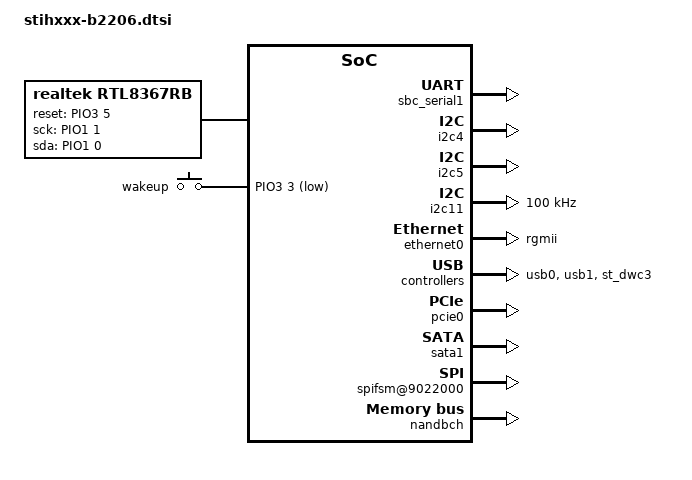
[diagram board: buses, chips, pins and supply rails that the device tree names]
/*
 * Copyright (C) 2014 STMicroelectronics (R&D) Limited.
 * Author: Allen Wu <allen.wu@st.com>
 *
 * This program is free software; you can redistribute it and/or modify
 * it under the terms of the GNU General Public License version 2 as
 * published by the Free Software Foundation.
 */
#include <dt-bindings/input/input.h>
/ {
	chosen {
		bootargs = "console=ttyAS0,115200";
		linux,stdout-path = &sbc_serial1;
	};

	aliases {
		ttyAS0 = &sbc_serial1;
		ethernet0 = &ethernet0;
		usb0 = &usb0;
		usb1 = &usb1;
	};
	sound {
		compatible = "st,snd-soc-sti";
		status = "okay";
		st,card-name = "sti audio card";

		st,asoc-platform = <&sti_asoc_platform>;
		st,backend-name  = "HDMI_out", "PCM_out",
				   "Analog_out", "spdif",
				   "PCM_in", "HDMI_in";
		st,backend-cpu-dai = <&snd_uni_player0 &snd_uni_player1
				      &snd_uni_player2 &snd_uni_player3
				      &snd_uni_reader0 &snd_uni_reader1 >;
		st,backend-codec = <&sti_sasg_codec &sti_sasg_codec
				    &sti_sasg_codec &sti_sasg_codec
				    &sti_sasg_codec &sti_sasg_codec>;
		st,backend-codec-dai = "sas-dai-dummy", "sas-dai-dummy",
				       "sas-dai-dac", "sas-dai-spdif-out",
				       "sas-dai-dummy","sas-dai-dummy";
	};

	soc {
		pin-controller-sbc {
			keyscan {
				pinctrl_keyscan: keyscan {
					st,pins {
						keyin0 = <&PIO4 4 ALT4 IN>;
						keyin1 = <&PIO4 5 ALT4 IN>;
						keyin2 = <&PIO0 4 ALT2 IN>;
						keyin3 = <&PIO2 6 ALT2 IN>;

						keyout0 = <&PIO4 6 ALT4 OUT>;
						keyout1 = <&PIO4 7 ALT4 OUT>;
						keyout2 = <&PIO5 2 ALT4 OUT>;
						keyout3 = <&PIO2 7 ALT2 OUT>;
					};
				};
			};
		};

		sbc_serial1: serial@9531000 {
			status = "okay";
		};

		rc: rc@09518000 {
			status = "okay";
		};

		/* SSC4 to NIM-A */
		i2c4: i2c@9844000 {
			status = "okay";
		};

		/* SSC5 to NIM-B */
		i2c5: i2c@9845000 {
			status = "okay";
		};

		/* SSC11 to HDMI */
		i2c11: i2c@9541000 {
			status = "okay";
			/* HDMI V1.3a supports Standard mode only */
			clock-frequency = <100000>;
			st,i2c-min-scl-pulse-width-us = <0>;
			st,i2c-min-sda-pulse-width-us = <5>;
		};

		lpm:stm-lpm@9400000 {
			status = "okay";
			gpios = <&PIO3 2 0>;
			st,lmi-ret-gpio = <&PIO5 2 0>;
		};

		gmac1 {
			rgmii1-0 {
				st,pins {
					rxclk = <&PIO2 2 ALT1 IN NICLK 1000 CLK_A>;
				};
			};
		};

		ethernet0: dwmac@9630000 {
			status = "okay";
			phy-mode = "rgmii";
			st,tx-retime-src = "clkgen";
			fixed-link = <1 1000 0 0>;
			snps,phy-addr = <0x1>;
			pinctrl-names = "default";
			pinctrl-0 = <&pinctrl_rgmii1>;

			/* In case of using a PHY daughter board (instead
			 * of the embedded switch) remove fixed link.
			 *
			 * pinctrl-0 = <&pinctrl_rgmii1 &pinctrl_rgmii1_mdio
			 *              &pinctrl_rgmii1_mdint>;
			 * snps,reset-gpio = <&PIO17 7 0>;
			 * snps,reset-active-low;
			 * snps,reset-delays-us = <0 10000 1000000>;
			 */

		};

		/* Disable it in case of using a PHY daughter board */

		/* CLK_ETH_PHY has to reduced to 25MHz and speed fixed to 100
		 * for stability problems.
		 */
		realtek: rtl8367rb {
			compatible = "realtek,rtl8367rb";
			status = "okay";

			gpio-reset = <&PIO3 5 0>;
			gpio-sck = <&PIO1 1 0>;
			gpio-sda = <&PIO1 0 0>;

			rtl8367rb,extif1;
			rtl8367rb,extif1-mode = <1>; // RGMII
			rtl8367rb,extif1-txdelay = <0>;
			rtl8367rb,extif1-rxdelay = <1>;
			rtl8367rb,extif1-force_mode = <1>;
			rtl8367rb,extif1-txpause = <2>;
			rtl8367rb,extif1-rxpause = <2>;
			rtl8367rb,extif1-link = <1>;
			rtl8367rb,extif1-duplex = <1>;
			rtl8367rb,extif1-speed = <1>; // 100M speed

			rtl8367rb,extif2;
			rtl8367rb,extif2-mode = <1>; // RGMII
			rtl8367rb,extif2-txdelay = <0>;
			rtl8367rb,extif2-rxdelay = <1>;
			rtl8367rb,extif2-force_mode = <1>;
			rtl8367rb,extif2-txpause = <1>;
			rtl8367rb,extif2-rxpause = <1>;
			rtl8367rb,extif2-link = <1>;
			rtl8367rb,extif2-duplex = <1>;
			rtl8367rb,extif2-speed = <2>; // 1000M speed
		};

		usb0: usb@9A00000 {
			status = "okay";
		};

		usb1: usb@9A80000 {
			status = "okay";
		};

		st_dwc3: dwc3@8f94000 {
			status = "okay";
		};

                miphy28lp_phy0: miphy28lp@0 {
                        status = "okay";
                };

		miphy28lp_phy1: miphy28lp@1 {
			st,sata_gen = "gen3";
			status = "okay";
		};

		pcie0: pcie@9b00000 {
			/* Override "lmi mem window" size : 3GB */
			reg = <0x09b00000 0x00001000
			       0x2fff0000 0x00010000
			       0x40000000 0xc0000000   /* lmi mem window */
			       0xd8 0x04
			       0xe0 0x04>;
			status = "okay";
		};

		pcie1: pcie@9b10000 {
			/* Override "lmi mem window" size : 3GB */
			reg = <0x09b10000 0x00001000
			       0x3fff0000 0x00010000
			       0x40000000 0xc0000000   /* lmi mem window */
			       0xdc 0x04
			       0xe4 0x04>;
		};

		sata1: sata@9b28000 {
			status = "okay";
		};

		keyscan: keyscan@94b0000 {
			compatible = "st,keypad";
			status = "disabled";
			pinctrl-names = "default";
			pinctrl-0 = <&pinctrl_keyscan>;
			keypad,num-rows = <4>;
			keypad,num-columns = <4>;
			st,debounce_us = <5000>;
			linux,keymap = < /* in0	  in1	in2	in3 */
				KEY_F13 KEY_F9  KEY_F5 KEY_F1	/* out0 */
				KEY_F14 KEY_F10 KEY_F6 KEY_F2	/* out1 */
				KEY_F15 KEY_F11 KEY_F7 KEY_F3	/* out2 */
				KEY_F16 KEY_F12 KEY_F8 KEY_F4 >;/* out3 */
		};

		spifsm@9022000 {
			status = "okay";
			flash-name = "mx25l25635f";
			partitions = <&b2206_fsm_partitions>;

			b2206_fsm_partitions: partitions-b2206 {
				#address-cells = <1>;
				#size-cells = <1>;
				partition@0 {
					label = "boot";
					/* 20M */
					reg = <0x00000000 0x01400000>;
				};
				partition@1400000 {
					label = "rest";
					/* 12M */
					reg = <0x01400000 0x00c00000>;
				};
			};
		};

		nandbch: nand-bch {
			status = "okay";
			st,nand-banks = <&nand_banks>;
		};

		nand_banks: nand-banks {
			bank0 {
				/* NAND_BBT_USE_FLASH (4Gbit) */
				nand-on-flash-bbt;
				nand-no-autoincr;
				st,nand-cs = <0>;
				st,nand-timing-data = <&nand_timing0>;
				partitions {
					#address-cells = <1>;
					#size-cells = <1>;
					partition@0{
						label = "NAND Flash 1";
						reg = <0x00000000 0x1e000000>;
					};
				};
			};
		};

		nand_timing0: nand-timing {
			sig-setup = <10>;
			sig-hold = <10>;
			CE-deassert = <0>;
			WE-to-RBn = <100>;
			wr-on = <10>;
			wr-off = <30>;
			rd-on = <10>;
			rd-off = <30>;
			chip-delay = <30>;		/* delay in us */
		};

		/* Enable when use the B2143 eMMC daughter board. */
		mmc0: sdhci@09060000 {
			non-removable;
		};

		/* Uniperipheral */
		snd_uni_player0: snd-uni-player@0 {
			status = "okay";
		};

		snd_uni_player1: snd-uni-player@1 {
			status = "okay";
		};

		snd_uni_player2: snd-uni-player@2 {
			status = "okay";
		};

		snd_uni_player3: snd-uni-player@3 {
			status = "okay";
		};

		snd_uni_reader0: snd-uni-reader@0 {
			status = "okay";
		};

		snd_uni_reader1: snd-uni-reader@1 {
			status = "okay";
		};

		gpio_keys {
			compatible = "gpio-keys";
			#address-cells = <1>;
			#size-cells = <0>;
			button@1 {
				label = "wakeup";
				linux,code = <41>;
				gpios = <&PIO3 3 1>;
				gpio-key,wakeup;
			};
		};
	};
};
